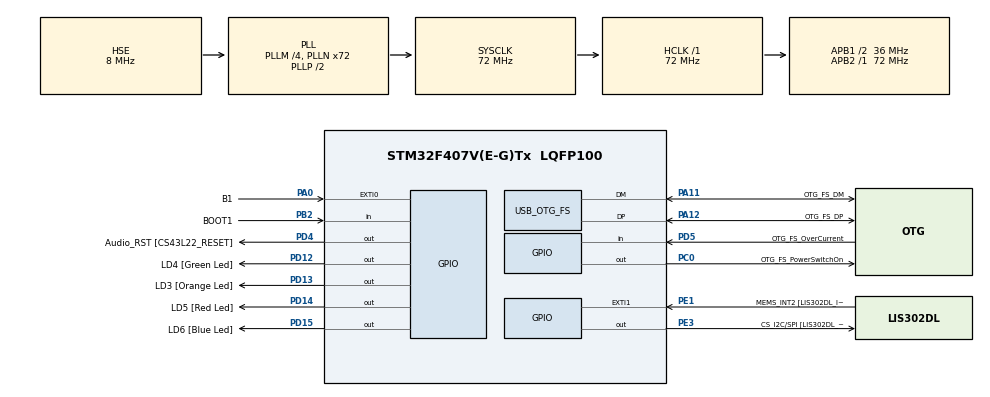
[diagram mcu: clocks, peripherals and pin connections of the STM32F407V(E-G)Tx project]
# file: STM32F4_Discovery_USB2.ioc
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Mcu.Family=STM32F4
Mcu.Name=STM32F407V(E-G)Tx
Mcu.Package=LQFP100
NVIC.EXTI0_IRQn=true\:0\:0\:false\:false\:true
NVIC.OTG_FS_IRQn=true\:0\:0\:false\:false\:true
NVIC.PriorityGroup=NVIC_PRIORITYGROUP_0
NVIC.RCC_IRQn=true\:0\:0\:false\:false\:true
NVIC.TIM1_BRK_TIM9_IRQn=true\:0\:0\:false\:false\:true
NVIC.TIM2_IRQn=true\:0\:0\:false\:false\:true
NVIC.TIM3_IRQn=true\:0\:0\:false\:false\:true
NVIC.TIM5_IRQn=true\:0\:0\:false\:false\:true
PA0-WKUP.GPIO_Label=B1
PA0-WKUP.Signal=GPXTI0
PA10.GPIO_Label=OTG_FS_ID
PA10.GPIO_Mode=GPIO_MODE_AF_PP
PA10.GPIO_PuPd=GPIO_NOPULL
PA10.GPIO_Speed=GPIO_SPEED_FREQ_LOW
PA10.Signal=USB_OTG_FS_ID
PA11.GPIO_Label=OTG_FS_DM
PA11.GPIO_Mode=GPIO_MODE_AF_PP
PA11.GPIO_PuPd=GPIO_NOPULL
PA11.GPIO_Speed=GPIO_SPEED_FREQ_LOW
PA11.Mode=Device_Only
PA11.Signal=USB_OTG_FS_DM
PA12.GPIO_Label=OTG_FS_DP
PA12.GPIO_Mode=GPIO_MODE_AF_PP
PA12.GPIO_PuPd=GPIO_NOPULL
PA12.GPIO_Speed=GPIO_SPEED_FREQ_LOW
PA12.Mode=Device_Only
PA12.Signal=USB_OTG_FS_DP
PA13.GPIO_Label=SWDIO
PA13.Signal=SYS_JTMS-SWDIO
PA14.GPIO_Label=SWCLK
PA14.Signal=SYS_JTCK-SWCLK
PA4.GPIO_Label=I2S3_WS [CS43L22_LRCK]
PA4.GPIO_Mode=GPIO_MODE_AF_PP
PA4.GPIO_PuPd=GPIO_NOPULL
PA4.GPIO_Speed=GPIO_SPEED_FREQ_LOW
PA4.Signal=I2S3_WS
PA5.GPIO_Label=SPI1_SCK [LIS302DL_SCL/SPC]
PA5.GPIO_Mode=GPIO_MODE_AF_PP
PA5.GPIO_PuPd=GPIO_NOPULL
PA5.GPIO_Speed=GPIO_SPEED_FREQ_LOW
PA5.Signal=SPI1_SCK
PA6.GPIO_Label=SPI1_MISO [LIS302DL_SDO]
PA6.GPIO_Mode=GPIO_MODE_AF_PP
PA6.GPIO_PuPd=GPIO_NOPULL
PA6.GPIO_Speed=GPIO_SPEED_FREQ_LOW
PA6.Signal=SPI1_MISO
PA7.GPIO_Label=SPI1_MOSI [LIS302DL_SDA/SDI/SDO]
PA7.GPIO_Mode=GPIO_MODE_AF_PP
PA7.GPIO_PuPd=GPIO_NOPULL
PA7.GPIO_Speed=GPIO_SPEED_FREQ_LOW
PA7.Signal=SPI1_MOSI
PA9.GPIO_Label=VBUS_FS
PA9.GPIO_Mode=GPIO_MODE_INPUT
PA9.GPIO_PuPd=GPIO_NOPULL
PA9.Signal=USB_OTG_FS_VBUS
PB10.GPIO_Label=CLK_IN [MP45DT02_CLK]
PB10.GPIO_Mode=GPIO_MODE_AF_PP
PB10.GPIO_PuPd=GPIO_NOPULL
PB10.GPIO_Speed=GPIO_SPEED_FREQ_LOW
PB10.Signal=I2S2_CK
PB2.GPIO_Label=BOOT1
PB2.GPIO_Mode=GPIO_MODE_INPUT
PB2.GPIO_PuPd=GPIO_NOPULL
PB2.Signal=GPIO_Input
PB3.GPIO_Label=SWO
PB3.Signal=SYS_JTDO-SWO
PB6.GPIO_Label=Audio_SCL [CS43L22_SCL]
PB6.GPIO_Mode=GPIO_MODE_AF_OD
PB6.GPIO_PuPd=GPIO_NOPULL
PB6.GPIO_Speed=GPIO_SPEED_FREQ_LOW
PB6.Signal=I2C1_SCL
PB9.GPIO_Label=Audio_SDA [CS43L22_SDA]
PB9.GPIO_Mode=GPIO_MODE_AF_OD
PB9.GPIO_PuPd=GPIO_NOPULL
PB9.GPIO_Speed=GPIO_SPEED_FREQ_LOW
PB9.Signal=I2C1_SDA
PC0.GPIO_Label=OTG_FS_PowerSwitchOn
PC0.GPIO_PuPd=GPIO_NOPULL
PC0.GPIO_Speed=GPIO_SPEED_FREQ_LOW
PC0.Signal=GPIO_Output
PC10.GPIO_Label=I2S3_SCK [CS43L22_SCLK]
PC10.GPIO_Mode=GPIO_MODE_AF_PP
PC10.GPIO_PuPd=GPIO_NOPULL
PC10.GPIO_Speed=GPIO_SPEED_FREQ_LOW
PC10.Signal=I2S3_CK
PC12.GPIO_Label=I2S3_SD [CS43L22_SDIN]
PC12.GPIO_Mode=GPIO_MODE_AF_PP
PC12.GPIO_PuPd=GPIO_NOPULL
PC12.GPIO_Speed=GPIO_SPEED_FREQ_LOW
PC12.Signal=I2S3_SD
PC14-OSC32_IN.GPIO_Label=PC14-OSC32_IN
PC14-OSC32_IN.Signal=RCC_OSC32_IN
PC15-OSC32_OUT.GPIO_Label=PC15-OSC32_OUT
PC15-OSC32_OUT.Signal=RCC_OSC32_OUT
PC3.GPIO_Label=PDM_OUT [MP45DT02_DOUT]
PC3.GPIO_Mode=GPIO_MODE_AF_PP
PC3.GPIO_PuPd=GPIO_NOPULL
PC3.GPIO_Speed=GPIO_SPEED_FREQ_LOW
PC3.Signal=I2S2_SD
PC7.GPIO_Label=I2S3_MCK [CS43L22_MCLK]
PC7.GPIO_Mode=GPIO_MODE_AF_PP
PC7.GPIO_PuPd=GPIO_NOPULL
PC7.GPIO_Speed=GPIO_SPEED_FREQ_LOW
PC7.Signal=I2S3_MCK
PD12.GPIO_Label=LD4 [Green Led]
PD12.GPIO_PuPd=GPIO_NOPULL
PD12.GPIO_Speed=GPIO_SPEED_FREQ_LOW
PD12.Signal=GPIO_Output
PD13.GPIO_Label=LD3 [Orange Led]
PD13.GPIO_PuPd=GPIO_NOPULL
PD13.GPIO_Speed=GPIO_SPEED_FREQ_LOW
PD13.Signal=GPIO_Output
PD14.GPIO_Label=LD5 [Red Led]
PD14.GPIO_PuPd=GPIO_NOPULL
PD14.GPIO_Speed=GPIO_SPEED_FREQ_LOW
PD14.Signal=GPIO_Output
PD15.GPIO_Label=LD6 [Blue Led]
PD15.GPIO_PuPd=GPIO_NOPULL
PD15.GPIO_Speed=GPIO_SPEED_FREQ_LOW
PD15.Signal=GPIO_Output
PD4.GPIO_Label=Audio_RST [CS43L22_RESET]
PD4.GPIO_PuPd=GPIO_NOPULL
PD4.GPIO_Speed=GPIO_SPEED_FREQ_LOW
PD4.Signal=GPIO_Output
PD5.GPIO_Label=OTG_FS_OverCurrent
PD5.GPIO_Mode=GPIO_MODE_INPUT
PD5.GPIO_PuPd=GPIO_NOPULL
PD5.Signal=GPIO_Input
PE1.GPIO_Label=MEMS_INT2 [LIS302DL_INT2]
PE1.GPIO_ModeDefaultEXTI=GPIO_MODE_EVT_RISING
PE1.GPIO_PuPd=GPIO_NOPULL
PE1.Signal=GPXTI1
PE3.GPIO_Label=CS_I2C/SPI [LIS302DL_CS_I2C/SPI]
PE3.GPIO_PuPd=GPIO_NOPULL
PE3.GPIO_Speed=GPIO_SPEED_FREQ_LOW
PE3.Signal=GPIO_Output
PH0-OSC_IN.GPIO_Label=PH0-OSC_IN
PH0-OSC_IN.Mode=HSE-External-Oscillator
PH0-OSC_IN.Signal=RCC_OSC_IN
PH1-OSC_OUT.GPIO_Label=PH1-OSC_OUT
PH1-OSC_OUT.Mode=HSE-External-Oscillator
PH1-OSC_OUT.Signal=RCC_OSC_OUT
ProjectManager.HeapSize=0x200
ProjectManager.StackSize=0x400
ProjectManager.TargetToolchain=TrueSTUDIO
RCC.48MHZClocksFreq_Value=48000000
RCC.AHBFreq_Value=72000000
RCC.APB1CLKDivider=RCC_HCLK_DIV2
RCC.APB1Freq_Value=36000000
RCC.APB1TimFreq_Value=72000000
RCC.APB2Freq_Value=72000000
RCC.APB2TimFreq_Value=72000000
RCC.CortexFreq_Value=72000000
RCC.HCLKFreq_Value=72000000
RCC.HSE_VALUE=8000000
RCC.HSI_VALUE=16000000
RCC.LSE_VALUE=32768
RCC.PLLM=4
RCC.PLLN=72
RCC.PLLQ=3
RCC.SYSCLKFreq_VALUE=72000000
RCC.SYSCLKSource=RCC_SYSCLKSOURCE_PLLCLK
RCC.VCOOutputFreq_Value=144000000
TIM1.Period=600
TIM1.Prescaler=48000
TIM2.Period=502
TIM2.Prescaler=48000
TIM3.Period=499
TIM3.Prescaler=48000
TIM5.Period=100
TIM5.Prescaler=48000
TIM9.Period=515
TIM9.Prescaler=48000
USB_DEVICE.CLASS_NAME-CDC_FS=CDC
USB_DEVICE.CLASS_NAME_FS=CDC
USB_DEVICE.USBD_HandleTypeDef-CDC_FS=hUsbDeviceFS
USB_DEVICE.VirtualMode-CDC_FS=Cdc
USB_DEVICE.VirtualModeFS=Cdc_FS
USB_OTG_FS.VirtualMode=Device_Only
VP_TIM1_VS_ClockSourceINT.Mode=Internal
VP_TIM2_VS_ClockSourceINT.Mode=Internal
VP_TIM3_VS_ClockSourceINT.Mode=Internal
VP_TIM5_VS_ClockSourceINT.Mode=Internal
VP_TIM9_VS_ClockSourceINT.Mode=Internal
VP_USB_DEVICE_VS_USB_DEVICE_CDC_FS.Mode=CDC_FS
board=STM32F407G-DISC1

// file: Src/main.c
/**
  ******************************************************************************
  * File Name          : main.c
  * Description        : Main program body
  ******************************************************************************
  *
  * COPYRIGHT(c) 2016 STMicroelectronics
  *
  * Redistribution and use in source and binary forms, with or without modification,
  * are permitted provided that the following conditions are met:
  *   1. Redistributions of source code must retain the above copyright notice,
  *      this list of conditions and the following disclaimer.
  *   2. Redistributions in binary form must reproduce the above copyright notice,
  *      this list of conditions and the following disclaimer in the documentation
  *      and/or other materials provided with the distribution.
  *   3. Neither the name of STMicroelectronics nor the names of its contributors
  *      may be used to endorse or promote products derived from this software
  *      without specific prior written permission.
  *
  * THIS SOFTWARE IS PROVIDED BY THE COPYRIGHT HOLDERS AND CONTRIBUTORS "AS IS"
  * AND ANY EXPRESS OR IMPLIED WARRANTIES, INCLUDING, BUT NOT LIMITED TO, THE
  * IMPLIED WARRANTIES OF MERCHANTABILITY AND FITNESS FOR A PARTICULAR PURPOSE ARE
  * DISCLAIMED. IN NO EVENT SHALL THE COPYRIGHT HOLDER OR CONTRIBUTORS BE LIABLE
  * FOR ANY DIRECT, INDIRECT, INCIDENTAL, SPECIAL, EXEMPLARY, OR CONSEQUENTIAL
  * DAMAGES (INCLUDING, BUT NOT LIMITED TO, PROCUREMENT OF SUBSTITUTE GOODS OR
  * SERVICES; LOSS OF USE, DATA, OR PROFITS; OR BUSINESS INTERRUPTION) HOWEVER
  * CAUSED AND ON ANY THEORY OF LIABILITY, WHETHER IN CONTRACT, STRICT LIABILITY,
  * OR TORT (INCLUDING NEGLIGENCE OR OTHERWISE) ARISING IN ANY WAY OUT OF THE USE
  * OF THIS SOFTWARE, EVEN IF ADVISED OF THE POSSIBILITY OF SUCH DAMAGE.
  *
  ******************************************************************************
  */
#include "stm32f4xx_hal.h"
#include "usb_device.h"

/* USER CODE BEGIN Includes */
#include "usb_usr.h"
/* USER CODE END Includes */

TIM_HandleTypeDef htim1;
TIM_HandleTypeDef htim2;
TIM_HandleTypeDef htim3;
TIM_HandleTypeDef htim5;
TIM_HandleTypeDef htim9;

/* USER CODE BEGIN PV */
/* Private variables ---------------------------------------------------------*/

/* USER CODE END PV */

void SystemClock_Config(void);
void Error_Handler(void);
static void MX_GPIO_Init(void);
static void MX_TIM3_Init(void);
static void MX_TIM5_Init(void);
static void MX_TIM1_Init(void);
static void MX_TIM2_Init(void);
static void MX_TIM9_Init(void);

/* USER CODE BEGIN PFP */
/* Private function prototypes -----------------------------------------------*/
void LEDsInit(void);

/* USER CODE END PFP */

/* USER CODE BEGIN 0 */

void EXTI0_IRQ_Callback()
{
	//HAL_GPIO_TogglePin(GPIOD , GPIO_PIN_14);
}

void HAL_TIM_PeriodElapsedCallback(TIM_HandleTypeDef *htim)
{
	if(htim->Instance==TIM1)  // transmit usb
	{
		HAL_GPIO_TogglePin(GPIOD , GPIO_PIN_14);

	}
	if(htim->Instance==TIM2)  // transmit usb
	{
		HAL_GPIO_TogglePin(GPIOD , GPIO_PIN_13);
		USB_Transmit();
	}
	if(htim->Instance==TIM3)  // Heartbeat
	{
		HAL_GPIO_TogglePin(GPIOD , GPIO_PIN_12);
	}
	if(htim->Instance==TIM5)  // Check queue size
	{
		/*if(Queue_Size() > 0) {
			HAL_GPIO_WritePin(GPIOD, GPIO_PIN_13, GPIO_PIN_SET);
		}
		else {
			HAL_GPIO_WritePin(GPIOD, GPIO_PIN_13, GPIO_PIN_RESET);
		}*/
		//HAL_GPIO_TogglePin(GPIOD , GPIO_PIN_15);

	}
	if(htim->Instance==TIM9)
	{
		//HAL_GPIO_TogglePin(GPIOD , GPIO_PIN_13);
	}
}

//uint8_t ProcessUSBCommand(char command[8])
uint8_t ProcessUSBCommand(char *command, uint32_t len)
{
	USB_Send("Command received\n");

	if(strcmp(command, "a") == 0) {
		USB_Send("Sent a\n");
		USB_Send("1\n");
		USB_Send("2\n");
		USB_Send("3\n");
		USB_Send("4\n");
		USB_Send("5\n");
		USB_Send("6\n");
		USB_Send("7\n");
		USB_Send("8\n");
		USB_Send("9\n");
	}
	if(strcmp(command, "b") == 0) {
		USB_Send("Sent b\n");
	}
	if(strcmp(command, "c") == 0) {
		USB_Send("Sent c\n");
	}
	if(strcmp(command, "queuesize") == 0) {
		//HAL_GPIO_TogglePin(GPIOD , GPIO_PIN_13);

	}

	return 0;
}

/* USER CODE END 0 */

int main(void)
{

  /* MCU Configuration----------------------------------------------------------*/

  /* Reset of all peripherals, Initializes the Flash interface and the Systick. */
  HAL_Init();

  /* Configure the system clock */
  SystemClock_Config();

  /* Initialize all configured peripherals */
  MX_GPIO_Init();
  MX_TIM3_Init();
  MX_USB_DEVICE_Init();
  MX_TIM5_Init();
  MX_TIM1_Init();
  MX_TIM2_Init();
  MX_TIM9_Init();

  /* USER CODE BEGIN 2 */
	LEDsInit();
	HAL_TIM_Base_Start_IT(&htim1);
	HAL_TIM_Base_Start_IT(&htim2);
	HAL_TIM_Base_Start_IT(&htim3);
	HAL_TIM_Base_Start_IT(&htim5);
	HAL_TIM_Base_Start_IT(&htim9);
	USB_Init();

  /* USER CODE END 2 */

  /* Infinite loop */
  while (1)
  {

  /* USER CODE BEGIN 3 */
	//HAL_Delay(100);

	//HAL_GPIO_TogglePin(GPIOD , GPIO_PIN_12);
	//HAL_GPIO_TogglePin(GPIOD , GPIO_PIN_13);
	//HAL_GPIO_TogglePin(GPIOD , GPIO_PIN_14);
	//HAL_GPIO_TogglePin(GPIOD , GPIO_PIN_15);
  }
  /* USER CODE END 3 */

}

/** System Clock Configuration
*/
void SystemClock_Config(void)
{

  RCC_OscInitTypeDef RCC_OscInitStruct;
  RCC_ClkInitTypeDef RCC_ClkInitStruct;

  __HAL_RCC_PWR_CLK_ENABLE();

  __HAL_PWR_VOLTAGESCALING_CONFIG(PWR_REGULATOR_VOLTAGE_SCALE1);

  RCC_OscInitStruct.OscillatorType = RCC_OSCILLATORTYPE_HSE;
  RCC_OscInitStruct.HSEState = RCC_HSE_ON;
  RCC_OscInitStruct.PLL.PLLState = RCC_PLL_ON;
  RCC_OscInitStruct.PLL.PLLSource = RCC_PLLSOURCE_HSE;
  RCC_OscInitStruct.PLL.PLLM = 4;
  RCC_OscInitStruct.PLL.PLLN = 72;
  RCC_OscInitStruct.PLL.PLLP = RCC_PLLP_DIV2;
  RCC_OscInitStruct.PLL.PLLQ = 3;
  if (HAL_RCC_OscConfig(&RCC_OscInitStruct) != HAL_OK)
  {
    Error_Handler();
  }

  RCC_ClkInitStruct.ClockType = RCC_CLOCKTYPE_HCLK|RCC_CLOCKTYPE_SYSCLK
                              |RCC_CLOCKTYPE_PCLK1|RCC_CLOCKTYPE_PCLK2;
  RCC_ClkInitStruct.SYSCLKSource = RCC_SYSCLKSOURCE_PLLCLK;
  RCC_ClkInitStruct.AHBCLKDivider = RCC_SYSCLK_DIV1;
  RCC_ClkInitStruct.APB1CLKDivider = RCC_HCLK_DIV2;
  RCC_ClkInitStruct.APB2CLKDivider = RCC_HCLK_DIV1;
  if (HAL_RCC_ClockConfig(&RCC_ClkInitStruct, FLASH_LATENCY_2) != HAL_OK)
  {
    Error_Handler();
  }

  HAL_SYSTICK_Config(HAL_RCC_GetHCLKFreq()/1000);

  HAL_SYSTICK_CLKSourceConfig(SYSTICK_CLKSOURCE_HCLK);

  /* SysTick_IRQn interrupt configuration */
  HAL_NVIC_SetPriority(SysTick_IRQn, 0, 0);
}

/* TIM1 init function */
static void MX_TIM1_Init(void)
{

  TIM_ClockConfigTypeDef sClockSourceConfig;
  TIM_MasterConfigTypeDef sMasterConfig;

  htim1.Instance = TIM1;
  htim1.Init.Prescaler = 1800;
  htim1.Init.CounterMode = TIM_COUNTERMODE_UP;
  htim1.Init.Period = 600;
  htim1.Init.ClockDivision = TIM_CLOCKDIVISION_DIV1;
  htim1.Init.RepetitionCounter = 0;
  if (HAL_TIM_Base_Init(&htim1) != HAL_OK)
  {
    Error_Handler();
  }

  sClockSourceConfig.ClockSource = TIM_CLOCKSOURCE_INTERNAL;
  if (HAL_TIM_ConfigClockSource(&htim1, &sClockSourceConfig) != HAL_OK)
  {
    Error_Handler();
  }

  sMasterConfig.MasterOutputTrigger = TIM_TRGO_RESET;
  sMasterConfig.MasterSlaveMode = TIM_MASTERSLAVEMODE_DISABLE;
  if (HAL_TIMEx_MasterConfigSynchronization(&htim1, &sMasterConfig) != HAL_OK)
  {
    Error_Handler();
  }

}

/* TIM2 init function */
static void MX_TIM2_Init(void)
{

  TIM_ClockConfigTypeDef sClockSourceConfig;
  TIM_MasterConfigTypeDef sMasterConfig;

  htim2.Instance = TIM2;
  htim2.Init.Prescaler = 4800;
  htim2.Init.CounterMode = TIM_COUNTERMODE_UP;
  htim2.Init.Period = 502;
  htim2.Init.ClockDivision = TIM_CLOCKDIVISION_DIV1;
  if (HAL_TIM_Base_Init(&htim2) != HAL_OK)
  {
    Error_Handler();
  }

  sClockSourceConfig.ClockSource = TIM_CLOCKSOURCE_INTERNAL;
  if (HAL_TIM_ConfigClockSource(&htim2, &sClockSourceConfig) != HAL_OK)
  {
    Error_Handler();
  }

  sMasterConfig.MasterOutputTrigger = TIM_TRGO_RESET;
  sMasterConfig.MasterSlaveMode = TIM_MASTERSLAVEMODE_DISABLE;
  if (HAL_TIMEx_MasterConfigSynchronization(&htim2, &sMasterConfig) != HAL_OK)
  {
    Error_Handler();
  }

}

/* TIM3 init function */
static void MX_TIM3_Init(void)
{

  TIM_ClockConfigTypeDef sClockSourceConfig;
  TIM_MasterConfigTypeDef sMasterConfig;

  htim3.Instance = TIM3;
  htim3.Init.Prescaler = 48000;
  htim3.Init.CounterMode = TIM_COUNTERMODE_UP;
  htim3.Init.Period = 499;
  htim3.Init.ClockDivision = TIM_CLOCKDIVISION_DIV1;
  if (HAL_TIM_Base_Init(&htim3) != HAL_OK)
  {
    Error_Handler();
  }

  sClockSourceConfig.ClockSource = TIM_CLOCKSOURCE_INTERNAL;
  if (HAL_TIM_ConfigClockSource(&htim3, &sClockSourceConfig) != HAL_OK)
  {
    Error_Handler();
  }

  sMasterConfig.MasterOutputTrigger = TIM_TRGO_RESET;
  sMasterConfig.MasterSlaveMode = TIM_MASTERSLAVEMODE_DISABLE;
  if (HAL_TIMEx_MasterConfigSynchronization(&htim3, &sMasterConfig) != HAL_OK)
  {
    Error_Handler();
  }

}

/* TIM5 init function */
static void MX_TIM5_Init(void)
{

  TIM_ClockConfigTypeDef sClockSourceConfig;
  TIM_MasterConfigTypeDef sMasterConfig;

  htim5.Instance = TIM5;
  htim5.Init.Prescaler = 48000;
  htim5.Init.CounterMode = TIM_COUNTERMODE_UP;
  htim5.Init.Period = 100;
  htim5.Init.ClockDivision = TIM_CLOCKDIVISION_DIV1;
  if (HAL_TIM_Base_Init(&htim5) != HAL_OK)
  {
    Error_Handler();
  }

  sClockSourceConfig.ClockSource = TIM_CLOCKSOURCE_INTERNAL;
  if (HAL_TIM_ConfigClockSource(&htim5, &sClockSourceConfig) != HAL_OK)
  {
    Error_Handler();
  }

  sMasterConfig.MasterOutputTrigger = TIM_TRGO_RESET;
  sMasterConfig.MasterSlaveMode = TIM_MASTERSLAVEMODE_DISABLE;
  if (HAL_TIMEx_MasterConfigSynchronization(&htim5, &sMasterConfig) != HAL_OK)
  {
    Error_Handler();
  }

}

/* TIM9 init function */
static void MX_TIM9_Init(void)
{

  TIM_ClockConfigTypeDef sClockSourceConfig;

  htim9.Instance = TIM9;
  htim9.Init.Prescaler = 48000;
  htim9.Init.CounterMode = TIM_COUNTERMODE_UP;
  htim9.Init.Period = 515;
  htim9.Init.ClockDivision = TIM_CLOCKDIVISION_DIV1;
  if (HAL_TIM_Base_Init(&htim9) != HAL_OK)
  {
    Error_Handler();
  }

  sClockSourceConfig.ClockSource = TIM_CLOCKSOURCE_INTERNAL;
  if (HAL_TIM_ConfigClockSource(&htim9, &sClockSourceConfig) != HAL_OK)
  {
    Error_Handler();
  }

}

/** Configure pins as
        * Analog
        * Input
        * Output
        * EVENT_OUT
        * EXTI
     PC3   ------> I2S2_SD
     PA4   ------> I2S3_WS
     PA5   ------> SPI1_SCK
     PA6   ------> SPI1_MISO
     PA7   ------> SPI1_MOSI
     PB10   ------> I2S2_CK
     PC7   ------> I2S3_MCK
     PC10   ------> I2S3_CK
     PC12   ------> I2S3_SD
     PB6   ------> I2C1_SCL
     PB9   ------> I2C1_SDA
*/
static void MX_GPIO_Init(void)
{

  GPIO_InitTypeDef GPIO_InitStruct;

  /* GPIO Ports Clock Enable */
  __HAL_RCC_GPIOE_CLK_ENABLE();
  __HAL_RCC_GPIOC_CLK_ENABLE();
  __HAL_RCC_GPIOH_CLK_ENABLE();
  __HAL_RCC_GPIOA_CLK_ENABLE();
  __HAL_RCC_GPIOB_CLK_ENABLE();
  __HAL_RCC_GPIOD_CLK_ENABLE();

  /*Configure GPIO pin Output Level */
  HAL_GPIO_WritePin(CS_I2C_SPI_GPIO_Port, CS_I2C_SPI_Pin, GPIO_PIN_RESET);

  /*Configure GPIO pin Output Level */
  HAL_GPIO_WritePin(OTG_FS_PowerSwitchOn_GPIO_Port, OTG_FS_PowerSwitchOn_Pin, GPIO_PIN_RESET);

  /*Configure GPIO pin Output Level */
  HAL_GPIO_WritePin(GPIOD, LD4_Pin|LD3_Pin|LD5_Pin|LD6_Pin
                          |Audio_RST_Pin, GPIO_PIN_RESET);

  /*Configure GPIO pin : CS_I2C_SPI_Pin */
  GPIO_InitStruct.Pin = CS_I2C_SPI_Pin;
  GPIO_InitStruct.Mode = GPIO_MODE_OUTPUT_PP;
  GPIO_InitStruct.Pull = GPIO_NOPULL;
  GPIO_InitStruct.Speed = GPIO_SPEED_FREQ_LOW;
  HAL_GPIO_Init(CS_I2C_SPI_GPIO_Port, &GPIO_InitStruct);

  /*Configure GPIO pin : OTG_FS_PowerSwitchOn_Pin */
  GPIO_InitStruct.Pin = OTG_FS_PowerSwitchOn_Pin;
  GPIO_InitStruct.Mode = GPIO_MODE_OUTPUT_PP;
  GPIO_InitStruct.Pull = GPIO_NOPULL;
  GPIO_InitStruct.Speed = GPIO_SPEED_FREQ_LOW;
  HAL_GPIO_Init(OTG_FS_PowerSwitchOn_GPIO_Port, &GPIO_InitStruct);

  /*Configure GPIO pin : PDM_OUT_Pin */
  GPIO_InitStruct.Pin = PDM_OUT_Pin;
  GPIO_InitStruct.Mode = GPIO_MODE_AF_PP;
  GPIO_InitStruct.Pull = GPIO_NOPULL;
  GPIO_InitStruct.Speed = GPIO_SPEED_FREQ_LOW;
  GPIO_InitStruct.Alternate = GPIO_AF5_SPI2;
  HAL_GPIO_Init(PDM_OUT_GPIO_Port, &GPIO_InitStruct);

  /*Configure GPIO pin : B1_Pin */
  GPIO_InitStruct.Pin = B1_Pin;
  GPIO_InitStruct.Mode = GPIO_MODE_IT_RISING;
  GPIO_InitStruct.Pull = GPIO_NOPULL;
  HAL_GPIO_Init(B1_GPIO_Port, &GPIO_InitStruct);

  /*Configure GPIO pin : PA4 */
  GPIO_InitStruct.Pin = GPIO_PIN_4;
  GPIO_InitStruct.Mode = GPIO_MODE_AF_PP;
  GPIO_InitStruct.Pull = GPIO_NOPULL;
  GPIO_InitStruct.Speed = GPIO_SPEED_FREQ_LOW;
  GPIO_InitStruct.Alternate = GPIO_AF6_SPI3;
  HAL_GPIO_Init(GPIOA, &GPIO_InitStruct);

  /*Configure GPIO pins : PA5 PA6 PA7 */
  GPIO_InitStruct.Pin = GPIO_PIN_5|GPIO_PIN_6|GPIO_PIN_7;
  GPIO_InitStruct.Mode = GPIO_MODE_AF_PP;
  GPIO_InitStruct.Pull = GPIO_NOPULL;
  GPIO_InitStruct.Speed = GPIO_SPEED_FREQ_LOW;
  GPIO_InitStruct.Alternate = GPIO_AF5_SPI1;
  HAL_GPIO_Init(GPIOA, &GPIO_InitStruct);

  /*Configure GPIO pin : BOOT1_Pin */
  GPIO_InitStruct.Pin = BOOT1_Pin;
  GPIO_InitStruct.Mode = GPIO_MODE_INPUT;
  GPIO_InitStruct.Pull = GPIO_NOPULL;
  HAL_GPIO_Init(BOOT1_GPIO_Port, &GPIO_InitStruct);

  /*Configure GPIO pin : CLK_IN_Pin */
  GPIO_InitStruct.Pin = CLK_IN_Pin;
  GPIO_InitStruct.Mode = GPIO_MODE_AF_PP;
  GPIO_InitStruct.Pull = GPIO_NOPULL;
  GPIO_InitStruct.Speed = GPIO_SPEED_FREQ_LOW;
  GPIO_InitStruct.Alternate = GPIO_AF5_SPI2;
  HAL_GPIO_Init(CLK_IN_GPIO_Port, &GPIO_InitStruct);

  /*Configure GPIO pins : LD4_Pin LD3_Pin LD5_Pin LD6_Pin
                           Audio_RST_Pin */
  GPIO_InitStruct.Pin = LD4_Pin|LD3_Pin|LD5_Pin|LD6_Pin
                          |Audio_RST_Pin;
  GPIO_InitStruct.Mode = GPIO_MODE_OUTPUT_PP;
  GPIO_InitStruct.Pull = GPIO_NOPULL;
  GPIO_InitStruct.Speed = GPIO_SPEED_FREQ_LOW;
  HAL_GPIO_Init(GPIOD, &GPIO_InitStruct);

  /*Configure GPIO pins : PC7 I2S3_SCK_Pin PC12 */
  GPIO_InitStruct.Pin = GPIO_PIN_7|I2S3_SCK_Pin|GPIO_PIN_12;
  GPIO_InitStruct.Mode = GPIO_MODE_AF_PP;
  GPIO_InitStruct.Pull = GPIO_NOPULL;
  GPIO_InitStruct.Speed = GPIO_SPEED_FREQ_LOW;
  GPIO_InitStruct.Alternate = GPIO_AF6_SPI3;
  HAL_GPIO_Init(GPIOC, &GPIO_InitStruct);

  /*Configure GPIO pin : OTG_FS_OverCurrent_Pin */
  GPIO_InitStruct.Pin = OTG_FS_OverCurrent_Pin;
  GPIO_InitStruct.Mode = GPIO_MODE_INPUT;
  GPIO_InitStruct.Pull = GPIO_NOPULL;
  HAL_GPIO_Init(OTG_FS_OverCurrent_GPIO_Port, &GPIO_InitStruct);

  /*Configure GPIO pins : Audio_SCL_Pin Audio_SDA_Pin */
  GPIO_InitStruct.Pin = Audio_SCL_Pin|Audio_SDA_Pin;
  GPIO_InitStruct.Mode = GPIO_MODE_AF_OD;
  GPIO_InitStruct.Pull = GPIO_PULLUP;
  GPIO_InitStruct.Speed = GPIO_SPEED_FREQ_LOW;
  GPIO_InitStruct.Alternate = GPIO_AF4_I2C1;
  HAL_GPIO_Init(GPIOB, &GPIO_InitStruct);

  /*Configure GPIO pin : MEMS_INT2_Pin */
  GPIO_InitStruct.Pin = MEMS_INT2_Pin;
  GPIO_InitStruct.Mode = GPIO_MODE_EVT_RISING;
  GPIO_InitStruct.Pull = GPIO_NOPULL;
  HAL_GPIO_Init(MEMS_INT2_GPIO_Port, &GPIO_InitStruct);

  /* EXTI interrupt init*/
  HAL_NVIC_SetPriority(EXTI0_IRQn, 0, 0);
  HAL_NVIC_EnableIRQ(EXTI0_IRQn);

}

/* USER CODE BEGIN 4 */

void ms_delay(int ms)
{
	while (ms-- > 0) {
		volatile int x=5971;
		while (x-- > 0)
			__asm("nop");
	}
}

void LEDsInit(void) {
	GPIO_InitTypeDef GPIO_InitStruct;

	GPIO_InitStruct.Pin = GPIO_PIN_12;
	GPIO_InitStruct.Mode = GPIO_MODE_OUTPUT_PP;
	//GPIO_InitStruct.Pull = GPIO_NOPULL;
	GPIO_InitStruct.Speed = GPIO_SPEED_FREQ_LOW;
	HAL_GPIO_Init(GPIOD, &GPIO_InitStruct);

	GPIO_InitStruct.Pin = GPIO_PIN_13;
	GPIO_InitStruct.Mode = GPIO_MODE_OUTPUT_PP;
	//GPIO_InitStruct.Pull = GPIO_NOPULL;
	GPIO_InitStruct.Speed = GPIO_SPEED_FREQ_LOW;
	HAL_GPIO_Init(GPIOD, &GPIO_InitStruct);

	GPIO_InitStruct.Pin = GPIO_PIN_14;
	GPIO_InitStruct.Mode = GPIO_MODE_OUTPUT_PP;
	//GPIO_InitStruct.Pull = GPIO_NOPULL;
	GPIO_InitStruct.Speed = GPIO_SPEED_FREQ_LOW;
	HAL_GPIO_Init(GPIOD, &GPIO_InitStruct);

	GPIO_InitStruct.Pin = GPIO_PIN_15;
	GPIO_InitStruct.Mode = GPIO_MODE_OUTPUT_PP;
	//GPIO_InitStruct.Pull = GPIO_NOPULL;
	GPIO_InitStruct.Speed = GPIO_SPEED_FREQ_LOW;
	HAL_GPIO_Init(GPIOD, &GPIO_InitStruct);
}

/* USER CODE END 4 */

void Error_Handler(void)
{
  while(1)
  {
  }
}

/************************ (C) COPYRIGHT STMicroelectronics *****END OF FILE****/
